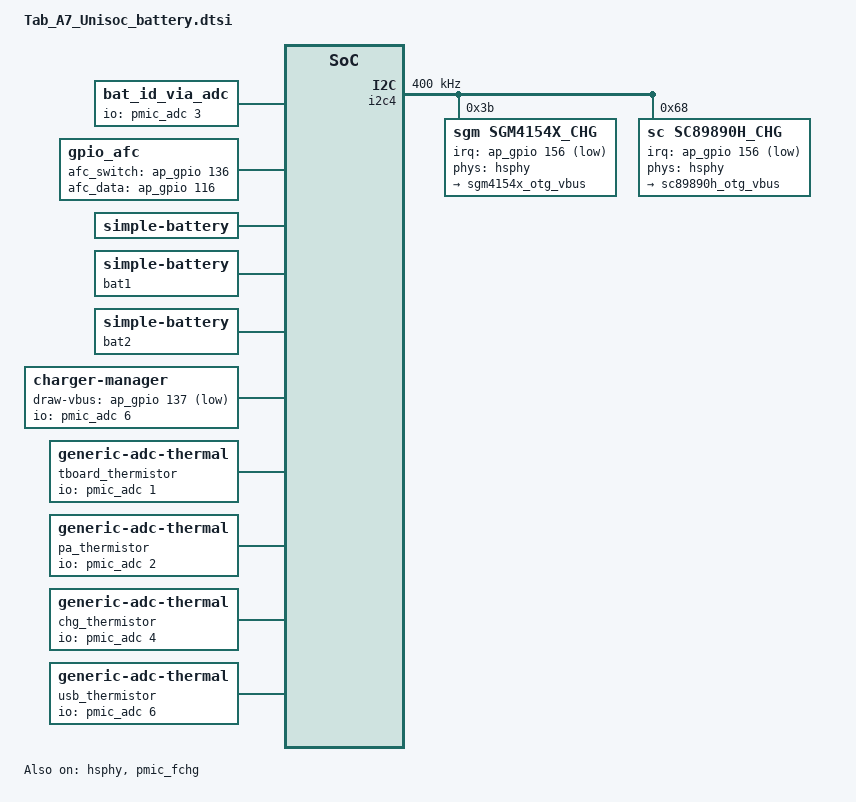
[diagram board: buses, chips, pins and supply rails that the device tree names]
/* Tab A7 T618 code for SR-AX6189A-01-101 by shixuanxuan at 20211221 start */
/* battery device */
#include <dt-bindings/usb/pd.h>

/ {
    fragment {
        target-path = "/";
        __overlay__ {
            bat_id_via_adc: bat_id_via_adc {
                compatible = "bat_id_via_adc";
                io-channels = <&pmic_adc 3>;
                io-channel-names = "customer_bat_id";
            };
            afc: afc {
                status = "ok";
                compatible = "gpio_afc";

                afc_switch_gpio = <&ap_gpio 136 0>;
                afc_data_gpio = <&ap_gpio 116 0>;
            };

            /* Tab A7 Lite T618 code for SR-AX6189A-01-78 by lina at 20211230 start */
            /* SCUD */
            bat: battery {
                compatible = "simple-battery";
                charge-full-design-microamp-hours = <4861000>;
                charge-term-current-microamp = <64000>;
                constant_charge_voltage_max_microvolt = <4400000>;
                factory-internal-resistance-micro-ohms = <130000>;
                voltage-min-design-microvolt = <3456000>;
                ocv-capacity-celsius = <20>;
                ocv-capacity-table-0 = <4349000 100>, <4292000 95>, <4237000 90>,
                            <4182000 85>, <4129000 80>, <4079000 75>,
                            <4031000 70>, <3985000 65>, <3945000 60>,
                            <3890000 55>, <3858000 50>, <3834000 45>,
                            <3814000 40>, <3798000 35>, <3784000 30>,
                            <3764000 25>, <3745000 20>, <3721000 15>,
                            <3693000 10>, <3681000 5>, <3400000 0>;
                voltage-temp-table = <1118967 800>, <980639 850>, <844565 900>,
                              <715494 950>, <597744 1000>, <493695 1050>,
                              <404687 1100>, <330285 1150>, <267902 1200>,
                              <217647 1250>, <176297 1300>, <143358 1350>,
                              <117790 1400>, <95891 1450>, <77969 1500>,
                              <64286 1550>, <52720 1600>, <43359 1650>,
                              <36274 1700>, <31520 1750>, <26741 1800>,
                              <21937 1850>;
                capacity-temp-table = <45 100>, <25 100>, <10 100>, <0 95>, <(-10) 87>, <(-20) 56>;
                resistance-temp-table = <45 77>, <25 100>, <10 156>, <0 897>, <(-10) 982>, <(-20) 1154>;
                charge-sdp-current-microamp = <540000 500000>;
                charge-dcp-current-microamp = <2000000 1550000>;
                charge-cdp-current-microamp = <1150000 1150000>;
                charge-fchg-current-microamp = <2900000 1650000>;
                charge-unknown-current-microamp = <500000 500000>;
                charge-afc-current-microamp = <2900000 1650000>;
            };

            /* ATL */
            bat1: battery1 {
                compatible = "simple-battery";
                charge-full-design-microamp-hours = <4918000>;
                charge-term-current-microamp = <64000>;
                constant_charge_voltage_max_microvolt = <4400000>;
                factory-internal-resistance-micro-ohms = <119000>;
                voltage-min-design-microvolt = <3456000>;
                ocv-capacity-celsius = <20>;
                ocv-capacity-table-0 = <4349000 100>, <4291000 95>, <4235000 90>,
                            <4179000 85>, <4125000 80>, <4075000 75>,
                            <4026000 70>, <3981000 65>, <3940000 60>,
                            <3887000 55>, <3854000 50>, <3830000 45>,
                            <3811000 40>, <3796000 35>, <3782000 30>,
                            <3764000 25>, <3746000 20>, <3722000 15>,
                            <3693000 10>, <3680000 5>, <3400000 0>;
                voltage-temp-table = <1113926 800>, <976259 850>, <840175 900>,
                              <711772 950>, <595479 1000>, <492367 1050>,
                              <403180 1100>, <330284 1150>, <267902 1200>,
                              <217647 1250>, <176297 1300>, <143358 1350>,
                              <117790 1400>, <95891 1450>, <77969 1500>,
                              <64286 1550>, <52720 1600>, <43359 1650>,
                              <36274 1700>, <31520 1750>, <26741 1800>,
                              <21937 1850>;
                capacity-temp-table = <45 100>, <25 100>, <10 100>, <0 96>, <(-10) 88>, <(-20) 62>;
                resistance-temp-table = <45 82>, <25 100>, <10 156>, <0 917>, <(-10) 1063>, <(-20) 1211>;
                charge-sdp-current-microamp = <540000 500000>;
                charge-dcp-current-microamp = <2000000 1550000>;
                charge-cdp-current-microamp = <1150000 1150000>;
                charge-fchg-current-microamp = <2900000 1650000>;
                charge-unknown-current-microamp = <500000 500000>;
                charge-afc-current-microamp = <2900000 1650000>;
            };
            /* Tab A7 Lite T618 code for SR-AX6189A-01-78 by lina at 20211230 end */

            bat2: battery {
                compatible = "simple-battery";
                charge-full-design-microamp-hours = <4900000>;
                charge-term-current-microamp = <64000>;
                constant_charge_voltage_max_microvolt = <4400000>;
                factory-internal-resistance-micro-ohms = <116000>;
                voltage-min-design-microvolt = <3456000>;
                ocv-capacity-celsius = <20>;
                ocv-capacity-table-0 = <4357000 100>, <4297000 95>, <4239000 90>,
                            <4182000 85>, <4128000 80>, <4076000 75>,
                            <4028000 70>, <3985000 65>, <3944000 60>,
                            <3885000 55>, <3854000 50>, <3830000 45>,
                            <3811000 40>, <3796000 35>, <3783000 30>,
                            <3765000 25>, <3746000 20>, <3722000 15>,
                            <3693000 10>, <3680000 5>, <3400000 0>;
                voltage-temp-table = <1113926 800>, <976259 850>, <840175 900>,
                              <711772 950>, <595479 1000>, <492367 1050>,
                              <403180 1100>, <330284 1150>, <267902 1200>,
                              <217647 1250>, <176297 1300>, <143358 1350>,
                              <117790 1400>, <95891 1450>, <77969 1500>,
                              <64286 1550>, <52720 1600>, <43359 1650>,
                              <36274 1700>, <31520 1750>, <26741 1800>,
                              <21937 1850>;
                capacity-temp-table = <45 99>, <25 100>, <10 100>, <0 98>, <(-10) 90>, <(-20) 73>;
                resistance-temp-table = <45 67>, <25 100>, <10 371>, <0 609>, <(-10) 718>, <(-20) 794>;
                charge-sdp-current-microamp = <540000 500000>;
                charge-dcp-current-microamp = <2000000 1550000>;
                charge-cdp-current-microamp = <1150000 1150000>;
                charge-fchg-current-microamp = <2900000 1650000>;
                charge-unknown-current-microamp = <500000 500000>;
                charge-afc-current-microamp = <2900000 1650000>;
            };

            charger-manager {
                compatible = "charger-manager";
                cm-name = "battery";
                cm-poll-mode = <2>;
                cm-poll-interval = <15000>;
                cm-battery-stat = <2>;

                /* usb connector thermal */
                draw-vbus-gpio = <&ap_gpio 137 GPIO_ACTIVE_LOW>;
                io-channels = <&pmic_adc 6>;
                io-channel-names = "customer_usb_ntc";
                /* Tab A7 T618 code for AX6189DEV-83 by shixuanxuan at 20211229 start */
                /delete-property/ cm-thermal-zone;
                /* Tab A7 T618 code for AX6189DEV-83 by shixuanxuan at 20211229 end */

                cm-fast-chargers = "sc2730_fast_charger";
                cm-fast-charge-voltage-max = <10500000>;
                cm-fast-charge-voltage-drop = <700000>;
                cm-fullbatt-vchkdrop-ms = <30000>;
                cm-fullbatt-vchkdrop-volt = <55000>;
                cm-fullbatt-voltage = <4375000>;
                cm-first-fullbatt-current = <350000>;
                cm-fullbatt-current = <250000>;
                cm-fullbatt-capacity = <100>;
                cm-num-power-supplys = <3>;    // numbers of Charger IC
                cm-chargers = "fan54015_charger";
                /* Tab A7 Lite T618 code for SR-AX6189A-01-103 by shixuanxuan at 20220107 start */
                cm-power-supplys = "bq25890_charger", "sgm4154x_charger", "sc89890h_charger";
                /* Tab A7 Lite T618 code for SR-AX6189A-01-103 by shixuanxuan at 20220107 end */
                cm-fuel-gauge = "sc27xx-fgu";

                /* in deci centigrade */
                cm-battery-cold = <0>;
                cm-battery-cold-in-minus;
                cm-battery-hot = <500>;
                cm-battery-temp-diff = <30>;

                /* Allow charging for 6hr */
                cm-charging-max = <21600000>;
                /* recovery charging after stop charging 45min */
                cm-discharging-max = <2700000>;

                /* the interval to feed charger watchdog */
                cm-wdt-interval = <60>;

                /* drop voltage in microVolts to allow shutdown */
                cm-shutdown-voltage = <3100000>;

                /* when 99% of the time is exceeded, it will be forced to 100% */
                cm-tickle-time-out = <1500>;

                /* how much time to allow capacity change */
                cm-one-cap-time = <30>;

                /* when the safe charging voltage is exceeded, stop charging */
                cm-charge-voltage-max = <6500000>;

                /* drop voltage in microVolts to restart charging */
                cm-charge-voltage-drop = <700000>;

                cm-afc-charge-voltage-max = <10000000>;
                cm-afc-charge-voltage-drop = <700000>;

                /* DCP jeita */
                cm-dcp-jeita-temp-table = <1000 1030 0 4200000>, <1050 1080 540000 4208000>,
                    <1120 1150 1500000 4400000>, <1450 1420 2000000 4400000>, <1500 1470 2000000 4208000>;
                cm-dcp-jeita-temp-table-1 = <1000 1030 0 4200000>, <1050 1080 540000 4208000>,
                    <1120 1150 1500000 4400000>, <1450 1420 2000000 4400000>, <1500 1470 2000000 4208000>;
                cm-dcp-jeita-temp-table-2 = <1000 1030 0 4200000>, <1050 1080 540000 4208000>,
                    <1120 1150 1500000 4400000>, <1450 1420 2000000 4400000>, <1500 1470 2000000 4208000>;

                /* SDP jeita */
                cm-sdp-jeita-temp-table = <1000 1030 0 4200000>, <1050 1080 540000 4208000>,
                    <1120 1150 540000 4400000>, <1450 1420 540000 4400000>, <1500 1470 540000 4208000>;
                cm-sdp-jeita-temp-table-1 = <1000 1030 0 4200000>, <1050 1080 540000 4208000>,
                    <1120 1150 540000 4400000>, <1450 1420 540000 4400000>, <1500 1470 540000 4208000>;
                cm-sdp-jeita-temp-table-2 = <1000 1030 0 4200000>, <1050 1080 540000 4208000>,
                    <1120 1150 540000 4400000>, <1450 1420 540000 4400000>, <1500 1470 540000 4208000>;

                /* CDP jeita */
                cm-cdp-jeita-temp-table = <1000 1030 0 4200000>, <1050 1080 540000 4208000>,
                    <1120 1150 1500000 4400000>, <1450 1420 1500000 4400000>, <1500 1470 1500000 4208000>;
                cm-cdp-jeita-temp-table-1 = <1000 1030 0 4200000>, <1050 1080 540000 4208000>,
                    <1120 1150 1500000 4400000>, <1450 1420 1500000 4400000>, <1500 1470 1500000 4208000>;
                cm-cdp-jeita-temp-table-2= <1000 1030 0 4200000>, <1050 1080 540000 4208000>,
                    <1120 1150 1500000 4400000>, <1450 1420 1500000 4400000>, <1500 1470 1500000 4208000>;

                /* unknown charge type jeita */
                cm-unknown-jeita-temp-table = <1000 1030 0 4200000>, <1050 1080 540000 4208000>,
                    <1120 1150 540000 4400000>, <1450 1420 540000 4400000>, <1500 1470 540000 4208000>;
                cm-unknown-jeita-temp-table-1 = <1000 1030 0 4200000>, <1050 1080 540000 4208000>,
                    <1120 1150 540000 4400000>, <1450 1420 540000 4400000>, <1500 1470 540000 4208000>;
                cm-unknown-jeita-temp-table-2 = <1000 1030 0 4200000>, <1050 1080 540000 4208000>,
                    <1120 1150 540000 4400000>, <1450 1420 540000 4400000>, <1500 1470 540000 4208000>;

                /* fast charge jeita */
                cm-fchg-jeita-temp-table = <1000 1030 0 4200000>, <1050 1080 540000 4208000>,
                    <1120 1150 1500000 4400000>, <1450 1420 2900000 4400000>, <1500 1470 2900000 4208000>;
                cm-fchg-jeita-temp-table-1 = <1000 1030 0 4200000>, <1050 1080 540000 4208000>,
                    <1120 1150 1500000 4400000>, <1450 1420 2900000 4400000>, <1500 1470 2900000 4208000>;
                cm-fchg-jeita-temp-table-2 = <1000 1030 0 4200000>, <1050 1080 540000 4208000>,
                    <1120 1150 1500000 4400000>, <1450 1420 2900000 4400000>, <1500 1470 2900000 4208000>;

                /* flash jeita */
                cm-flash-jeita-temp-table = <1000 1030 0 4200000>, <1050 1080 540000 4208000>,
                    <1120 1150 1500000 4400000>, <1450 1420 2000000 4400000>, <1500 1470 2000000 4208000>;
                cm-flash-jeita-temp-table-1 = <1000 1030 0 4200000>, <1050 1080 540000 4208000>,
                    <1120 1150 1500000 4400000>, <1450 1420 2000000 4400000>, <1500 1470 2000000 4208000>;
                cm-flash-jeita-temp-table-2 = <1000 1030 0 4200000>, <1050 1080 540000 4208000>,
                    <1120 1150 1500000 4400000>, <1450 1420 2000000 4400000>, <1500 1470 2000000 4208000>;

                /* wl-bpp jeita */
                cm-wl-bpp-jeita-temp-table = <1000 1030 0 4200000>, <1050 1080 540000 4208000>,
                    <1120 1150 1000000 4400000>, <1450 1420 1000000 4400000>, <1500 1470 1000000 4208000>;
                cm-wl-bpp-jeita-temp-table-1 = <1000 1030 0 4200000>, <1050 1080 540000 4208000>,
                    <1120 1150 1000000 4400000>, <1450 1420 1000000 4400000>, <1500 1470 1000000 4208000>;
                cm-wl-bpp-jeita-temp-table-2 = <1000 1030 0 4200000>, <1050 1080 540000 4208000>,
                    <1120 1150 1000000 4400000>, <1450 1420 1000000 4400000>, <1500 1470 1000000 4208000>;

                /* wl-epp jeita */
                cm-wl-epp-jeita-temp-table = <1000 1030 0 4200000>, <1050 1080 540000 4208000>,
                    <1120 1150 1500000 4400000>, <1450 1420 2000000 4400000>, <1500 1470 2000000 4208000>;
                cm-wl-epp-jeita-temp-table-1 = <1000 1030 0 4200000>, <1050 1080 540000 4208000>,
                    <1120 1150 1500000 4400000>, <1450 1420 2000000 4400000>, <1500 1470 2000000 4208000>;
                cm-wl-epp-jeita-temp-table-2 = <1000 1030 0 4200000>, <1050 1080 540000 4208000>,
                    <1120 1150 1500000 4400000>, <1450 1420 2000000 4400000>, <1500 1470 2000000 4208000>;

                /* afc jeita */
                cm-afc-jeita-temp-table = <1000 1030 0 4200000>, <1050 1080 540000 4208000>,
                    <1120 1150 1500000 4400000>, <1450 1420 2900000 4400000>, <1500 1470 2900000 4208000>;
                cm-afc-jeita-temp-table-1 = <1000 1030 0 4200000>, <1050 1080 540000 4208000>,
                    <1120 1150 1500000 4400000>, <1450 1420 2900000 4400000>, <1500 1470 2900000 4208000>;
                cm-afc-jeita-temp-table-2 = <1000 1030 0 4200000>, <1050 1080 540000 4208000>,
                    <1120 1150 1500000 4400000>, <1450 1420 2900000 4400000>, <1500 1470 2900000 4208000>;

                monitored-battery = <&bat &bat1 &bat2>; // bat-SCUD bat1-ATL

                ss-batt-aging-enable;
                ss-cv-ranges = <0 299 4400000
                        300 399 4368000
                        400 699 4352000
                        700 999 4304000
                        1000 9999 4272000>;

                cm-cap-remap-table = <1 2 3>, <2 3 2>, <98 99 2>, <99 100 3>;

                regulator@0 {
                    cm-regulator-name = "vddgen0";
                    cable@0 {
                        cm-cable-name = "USB";
                        extcon = <&pmic_typec>;
                    };
                };

                vddvbus: cm_otg_vbus {
                    regulator-name = "vddvbus";
                };
            };

            tboard_thermistor:thermal-sensor {
                compatible = "generic-adc-thermal";
                #thermal-sensor-cells = <0>;
                io-channels = <&pmic_adc 1>;
                io-channel-names = "sensor-channel";
                temperature-lookup-table = <    (-39742) 1131
                                (-29777) 1110
                                (-19480) 1074
                                (-4679) 983
                                10110 838
                                24805 654
                                44922 413
                                54903 316
                                64895 238
                                74884 178
                                84883 133
                                94883 100
                                104880 75
                                114889 57
                                124872 43 >;
            };

            pa_thermistor:pa-sensor {
                compatible = "generic-adc-thermal";
                #thermal-sensor-cells = <0>;
                io-channels = <&pmic_adc 2>;
                io-channel-names = "sensor-channel";
                temperature-lookup-table = <    (-39742) 1131
                                (-29777) 1110
                                (-19480) 1074
                                (-4679) 983
                                10110 838
                                24805 654
                                44922 413
                                54903 316
                                64895 238
                                74884 178
                                84883 133
                                94883 100
                                104880 75
                                114889 57
                                124872 43 >;
            };

            chg_thermistor:chg-sensor {
                compatible = "generic-adc-thermal";
                #thermal-sensor-cells = <0>;
                io-channels = <&pmic_adc 4>;
                io-channel-names = "sensor-channel";
                temperature-lookup-table = <    (-39742) 1131
                                (-29777) 1110
                                (-19480) 1074
                                (-4679) 983
                                10110 838
                                24805 654
                                44922 413
                                54903 316
                                64895 238
                                74884 178
                                84883 133
                                94883 100
                                104880 75
                                114889 57
                                124872 43 >;
            };

            usb_thermistor:usb-sensor {
                compatible = "generic-adc-thermal";
                #thermal-sensor-cells = <0>;
                io-channels = <&pmic_adc 6>;
                io-channel-names = "sensor-channel";
                temperature-lookup-table = <    (-39742) 1131
                                (-29777) 1110
                                (-19480) 1074
                                (-4679) 983
                                10110 838
                                24805 654
                                44922 413
                                54903 316
                                64895 238
                                74884 178
                                84883 133
                                94883 100
                                104880 75
                                114889 57
                                124872 43 >;
            };
        };
    };
};


&thm_zone {
    pa_thmzone: pa-thmzone {
        polling-delay-passive = <0>;
        polling-delay = <0>;
        thermal-sensors = <&pa_thermistor>;
    };

    chg_thmzone: chg-thmzone {
        polling-delay-passive = <0>;
        polling-delay = <0>;
        thermal-sensors = <&chg_thermistor>;
    };

    usb_thmzone: usb-thmzone {
        polling-delay-passive = <0>;
        polling-delay = <0>;
        thermal-sensors = <&usb_thermistor>;
    };
};

&bq25890_chg {
        compatible = "ti,bq25890_chg";
        reg = <0x6a>;
        phys = <&hsphy>;
        monitored-battery = <&bat &bat1 &bat2>;
        extcon = <&pmic_typec>, <&pmic_pd>;
        pd-extcon-enable;
        use-typec-extcon;
        irq-gpio = <&ap_gpio 156 GPIO_ACTIVE_LOW>;
        bq25890_otg_vbus: bq25890_otg_vbus {
            regulator-name = "bq25890_otg_vbus";
        };
};

&i2c4 {
    clock-frequency = <400000>;

    sgm4154x_chg: sgm_charger@3b {
        compatible = "sgm,sgm4154x_chg";
        reg = <0x3b>;
        phys = <&hsphy>;
        monitored-battery = <&bat &bat1 &bat2>;
        extcon = <&pmic_typec>, <&pmic_pd>;
        pd-extcon-enable;
        use-typec-extcon;
        irq-gpio = <&ap_gpio 156 GPIO_ACTIVE_LOW>;
        sgm4154x_otg_vbus: sgm4154x_otg_vbus {
            regulator-name = "sgm4154x_otg_vbus";
        };
    };

    /* Tab A7 Lite T618 code for SR-AX6189A-01-103 by shixuanxuan at 20220105 start */
    sc89890h_chg: sc89890h_charger@68 {
        compatible = "sc,sc89890h_chg";
        reg = <0x68>;
        phys = <&hsphy>;
        monitored-battery = <&bat &bat1 &bat2>; // bat-ATL bat1-SCUD
        extcon = <&pmic_typec>, <&pmic_pd>;
        pd-extcon-enable;
        use-typec-extcon;
        irq-gpio = <&ap_gpio 156 GPIO_ACTIVE_LOW>;
        sc89890h_otg_vbus: sc89890h_otg_vbus {
            regulator-name = "sc89890h_otg_vbus";
        };
    };
    /* Tab A7 Lite T618 code for SR-AX6189A-01-103 by shixuanxuan at 20220105 end */
};

&hsphy {
    /* Tab A7 Lite T618 code for AX6189DEV-69 by shixuanxuan at 20220128 start */
    sprd,tfregres-tune-value = <0x06b60d00>;
    /* Tab A7 Lite T618 code for AX6189DEV-69 by shixuanxuan at 20220128 end */
    status = "okay";
};

&pmic_fchg {
    sprd,input-voltage-microvolt = <5000000>;
    phys = <&hsphy>;
    status =  "okay";
};

&pmic_fgu {
    monitored-battery = <&bat &bat1 &bat2>;
    first-calib-voltage = <3568000>;
    sprd,comp-resistance-mohm = <10>;
    sprd,comp-resistance-mohm1 = <11>;
    sprd,comp-resistance-mohm2 = <16>;
};

/* Tab A7 T618 code for SR-AX6189A-01-101 by shixuanxuan at 20211221 end */
